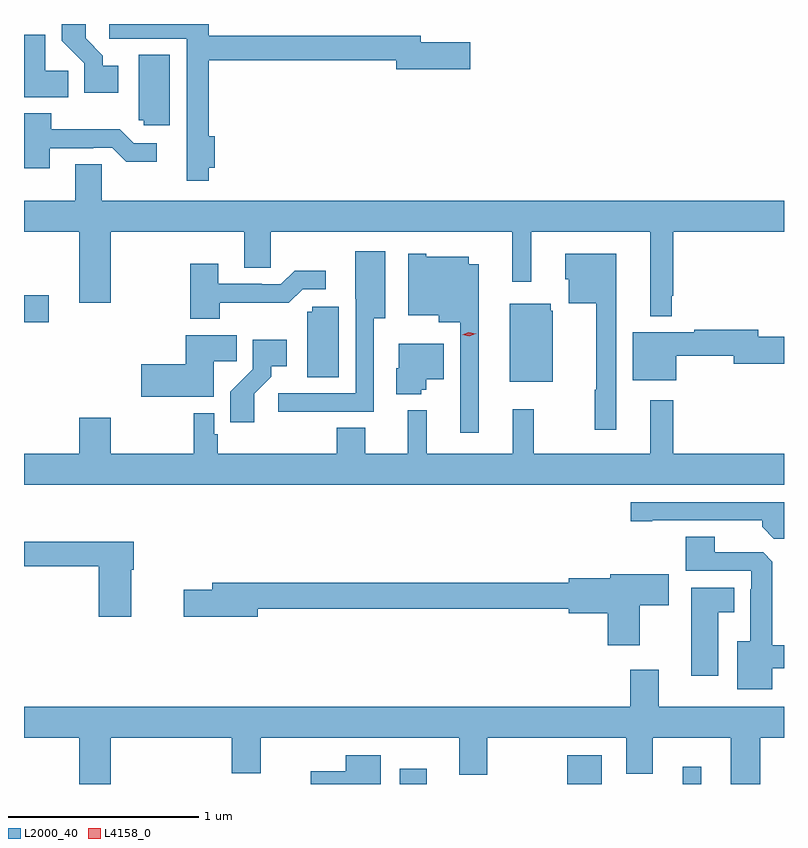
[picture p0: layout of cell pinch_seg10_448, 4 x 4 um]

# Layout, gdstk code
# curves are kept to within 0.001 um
import gdstk
lib = gdstk.Library(unit=1e-6, precision=1e-09)
def R(c, l, rs):  # rectangles x0, y0, x1, y1
    for r in rs: c.add(gdstk.rectangle(r[:2], r[2:], *l))
def P(c, l, *ps):  # polygons
    for p in ps: c.add(gdstk.Polygon(p, *l))
L2000_40 = (2000, 40)
L4158_0 = (4158, 0)

pinch_seg10_448 = lib.new_cell('pinch_seg10_448')
R(pinch_seg10_448, L2000_40, [(322.538,1292.081,322.681,1292.161), (323.42,1292.081,323.602,1292.233), (324.026,1292.081,324.124,1292.173), (320.56,1294.511,320.689,1294.653)])
P(pinch_seg10_448, L2000_40, [(321.055,1295.86),(320.974,1295.86),(320.974,1295.915),(320.884,1296.005),(320.884,1296.081),(320.758,1296.081),(320.758,1295.994),(320.877,1295.875),(320.877,1295.72),(321.055,1295.72)],
  [(321.533,1295.324),(321.563,1295.324),(321.563,1295.49),(321.533,1295.49),(321.533,1295.89),(322.52,1295.89),(322.52,1295.843),(322.909,1295.843),(322.909,1295.985),(322.648,1295.985),(322.648,1296.019),(321.533,1296.019),(321.533,1296.081),(321.009,1296.081),(321.009,1296.003),(321.417,1296.003),(321.417,1295.478),(321.416,1295.478),(321.416,1295.256),(321.533,1295.256)],
  [(320.792,1295.834),(320.671,1295.834),(320.671,1296.025),(320.56,1296.025),(320.56,1295.696),(320.792,1295.696)],
  [(321.328,1295.918),(321.164,1295.918),(321.164,1295.574),(321.189,1295.574),(321.189,1295.547),(321.328,1295.547)],
  [(320.695,1295.427),(320.924,1295.427),(320.924,1295.43),(321.024,1295.43),(321.097,1295.357),(321.259,1295.357),(321.259,1295.454),(321.138,1295.454),(321.065,1295.527),(320.703,1295.527),(320.703,1295.611),(320.56,1295.611),(320.56,1295.322),(320.695,1295.322)],
  [(323.97,1294.651),(323.977,1294.651),(323.977,1294.988),(324.56,1294.988),(324.56,1295.152),(320.97,1295.152),(320.97,1295.342),(320.831,1295.342),(320.831,1295.152),(320.56,1295.152),(320.56,1294.988),(320.852,1294.988),(320.852,1294.614),(321.016,1294.614),(321.016,1294.988),(321.719,1294.988),(321.719,1294.798),(321.858,1294.798),(321.858,1294.988),(323.131,1294.988),(323.131,1294.725),(323.23,1294.725),(323.23,1294.988),(323.855,1294.988),(323.855,1294.544),(323.97,1294.544)],
  [(322.121,1294.041),(322.401,1294.041),(322.401,1294.532),(322.462,1294.532),(322.462,1294.885),(322.304,1294.885),(322.304,1294.636),(322.305,1294.636),(322.305,1294.137),(321.897,1294.137),(321.897,1294.039),(322.121,1294.039)],
  [(322.954,1294.816),(322.9,1294.816),(322.9,1294.855),(322.677,1294.855),(322.677,1294.873),(322.583,1294.873),(322.583,1294.547),(322.742,1294.547),(322.742,1294.511),(322.857,1294.511),(322.857,1293.93),(322.954,1293.93)],
  [(323.677,1294.873),(323.408,1294.873),(323.408,1294.737),(323.426,1294.737),(323.426,1294.61),(323.573,1294.61),(323.573,1294.157),(323.563,1294.157),(323.563,1293.945),(323.677,1293.945)],
  [(321.591,1294.614),(321.953,1294.613),(322.026,1294.686),(322.147,1294.686),(322.147,1294.783),(321.985,1294.783),(321.912,1294.71),(321.812,1294.71),(321.812,1294.713),(321.583,1294.713),(321.583,1294.819),(321.436,1294.819),(321.436,1294.529),(321.591,1294.529)],
  [(323.344,1294.572),(323.332,1294.572),(323.332,1294.609),(323.117,1294.609),(323.117,1294.199),(323.344,1294.199)],
  [(322.216,1294.593),(322.077,1294.593),(322.077,1294.566),(322.052,1294.566),(322.052,1294.222),(322.216,1294.222)],
  [(323.992,1294.336),(324.296,1294.336),(324.296,1294.294),(324.56,1294.294),(324.56,1294.436),(324.424,1294.436),(324.424,1294.472),(324.088,1294.472),(324.088,1294.459),(323.765,1294.459),(323.765,1294.205),(323.992,1294.205)],
  [(321.559,1294.306),(321.68,1294.306),(321.68,1294.444),(321.41,1294.444),(321.41,1294.289),(321.177,1294.289),(321.177,1294.118),(321.559,1294.118)],
  [(321.772,1294.135),(321.862,1294.225),(321.862,1294.28),(321.943,1294.28),(321.943,1294.42),(321.765,1294.42),(321.765,1294.265),(321.646,1294.146),(321.646,1293.984),(321.772,1293.984)],
  [(322.65,1294.155),(322.678,1294.155),(322.678,1294.211),(322.768,1294.211),(322.768,1294.399),(322.532,1294.399),(322.532,1294.269),(322.52,1294.269),(322.52,1294.133),(322.65,1294.133)],
  [(324.56,1293.82),(323.977,1293.82),(323.977,1294.102),(323.855,1294.102),(323.855,1293.82),(323.242,1293.82),(323.242,1294.054),(323.132,1294.054),(323.132,1293.82),(322.679,1293.82),(322.679,1294.048),(322.58,1294.048),(322.58,1293.82),(322.357,1293.82),(322.357,1293.956),(322.205,1293.956),(322.205,1293.82),(321.581,1293.82),(321.581,1293.921),(321.561,1293.921),(321.561,1294.033),(321.453,1294.033),(321.453,1293.82),(321.016,1293.82),(321.016,1294.009),(320.852,1294.009),(320.852,1293.82),(320.56,1293.82),(320.56,1293.656),(324.56,1293.656)],
  [(324.56,1293.564),(323.754,1293.564),(323.754,1293.463),(323.866,1293.463),(323.866,1293.468),(324.446,1293.468),(324.446,1293.434),(324.507,1293.372),(324.56,1293.372)],
  [(324.499,1292.69),(324.56,1292.69),(324.56,1292.812),(324.499,1292.812),(324.499,1293.251),(324.45,1293.3),(324.196,1293.3),(324.196,1293.383),(324.044,1293.383),(324.044,1293.204),(324.387,1293.204),(324.387,1293.107),(324.383,1293.107),(324.383,1292.833),(324.314,1292.833),(324.314,1292.579),(324.499,1292.579)],
  [(321.124,1293.209),(321.137,1293.209),(321.137,1293.355),(320.56,1293.355),(320.56,1293.226),(320.954,1293.226),(320.954,1292.961),(321.124,1292.961)],
  [(323.8,1293.022),(323.953,1293.022),(323.953,1293.184),(323.645,1293.184),(323.645,1293.164),(323.426,1293.164),(323.426,1293.14),(321.551,1293.14),(321.551,1293.104),(321.402,1293.104),(321.402,1292.962),(321.79,1292.962),(321.79,1293.004),(323.426,1293.004),(323.426,1292.981),(323.633,1292.981),(323.633,1292.811),(323.8,1292.811)],
  [(324.214,1292.984),(324.298,1292.984),(324.298,1293.115),(324.071,1293.115),(324.071,1292.652),(324.214,1292.652)],
  [(321.016,1292.324),(321.653,1292.324),(321.653,1292.137),(321.805,1292.137),(321.805,1292.324),(322.85,1292.324),(322.85,1292.13),(322.998,1292.13),(322.998,1292.324),(323.729,1292.324),(323.729,1292.134),(323.869,1292.134),(323.869,1292.324),(324.281,1292.324),(324.281,1292.081),(324.434,1292.081),(324.434,1292.324),(324.56,1292.324),(324.56,1292.488),(323.902,1292.488),(323.902,1292.683),(323.75,1292.683),(323.75,1292.488),(320.56,1292.488),(320.56,1292.324),(320.852,1292.324),(320.852,1292.081),(321.016,1292.081)],
  [(322.438,1292.233),(322.253,1292.233),(322.253,1292.149),(322.068,1292.149),(322.068,1292.081),(322.438,1292.081)])
P(pinch_seg10_448, L4158_0, [(322.904,1294.438),(322.867,1294.446),(322.867,1294.446),(322.867,1294.446),(322.902,1294.458),(322.938,1294.451),(322.939,1294.451),(322.938,1294.451)])

lib.write_gds('pinch_seg10_448.gds')
